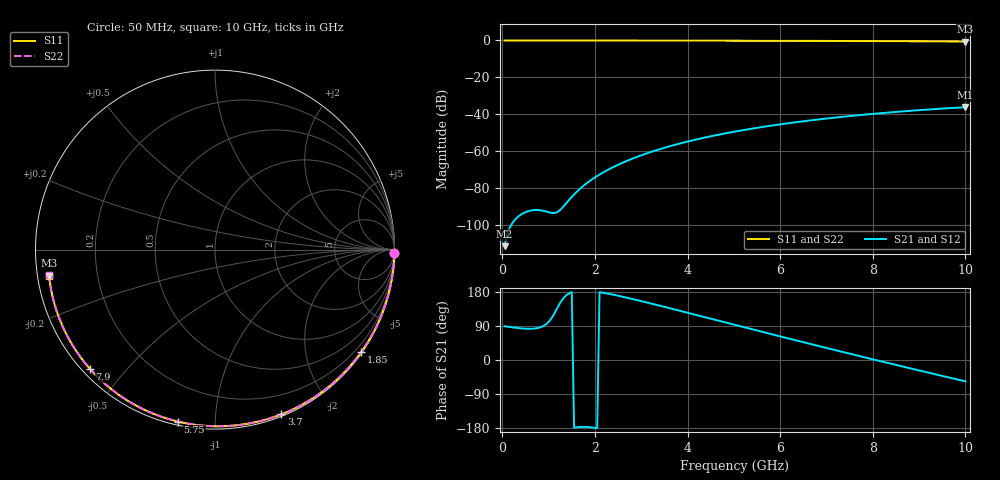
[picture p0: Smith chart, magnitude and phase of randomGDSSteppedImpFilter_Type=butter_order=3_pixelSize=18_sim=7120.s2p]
! freq	dB(S11)	phase(S11)	dB(S12)	phase(S12)
!  dB(S21)	phase(S21)	dB(S22)	phase(S22)
!S-par simulation data
#  GHz  S  DB  R 50
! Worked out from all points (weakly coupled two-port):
!   200 points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, 50 MHz to 10 GHz, reference 50 ohm
!   highest |S21| = -36.20 dB at 10 GHz (marker M1); lowest = -111.5 dB at 50 MHz (marker M2)
!   lowest |S11| = -0.6 dB at 10 GHz (marker M3), VSWR 30.11, Z = 1.67 - j3.88 ohm
!   |S11| at or under -10 dB: nowhere
!   |S22| runs from -0.6 to 0.0 dB; largest |S21 - S12| = 0
!   S11 on the Smith chart (normalised r, x): 50 MHz: open; 1.85 GHz: 0.03, -3.17; 3.7 GHz: 0.02, -1.48; 5.75 GHz: 0.02, -0.81; 7.9 GHz: 0.02, -0.40; 10 GHz: 0.03, -0.08
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0.05  -0.00 -1.0  -111.51 89.1  -111.51 89.1  -0.00 -1.0
0.45  -0.01 -8.7  -93.68 83.0  -93.68 83.0  -0.01 -8.7
0.85  -0.02 -16.3  -92.14 87.6  -92.14 87.6  -0.02 -16.3
1.65  -0.04 -31.3  -81.03 -176.9  -81.03 -176.9  -0.04 -31.3
1.7  -0.04 -32.2  -79.91 -176.5  -79.91 -176.5  -0.04 -32.2
1.75  -0.04 -33.1  -78.85 -176.4  -78.85 -176.4  -0.04 -33.1
1.85  -0.04 -35.0  -76.88 -177.0  -76.88 -177.0  -0.04 -35.0
2.15  -0.05 -40.5  -71.93 178.2  -71.93 178.2  -0.05 -40.5
2.5  -0.06 -46.9  -67.37 169.6  -67.37 169.6  -0.06 -46.9
2.9  -0.07 -54.0  -63.17 158.4  -63.17 158.4  -0.07 -54.1
3.4  -0.08 -62.9  -58.92 143.3  -58.92 143.3  -0.08 -62.9
3.7  -0.09 -68.1  -56.75 134.1  -56.75 134.1  -0.09 -68.1
4.35  -0.11 -79.2  -52.76 113.8  -52.76 113.8  -0.11 -79.2
5.05  -0.14 -90.8  -49.27 91.8  -49.27 91.8  -0.14 -90.9
5.75  -0.17 -102.2  -46.38 70.0  -46.38 70.0  -0.17 -102.3
6.2  -0.20 -109.4  -44.78 56.2  -44.78 56.2  -0.20 -109.5
6.7  -0.23 -117.4  -43.19 40.9  -43.19 40.9  -0.23 -117.4
7.3  -0.28 -126.9  -41.50 22.7  -41.50 22.7  -0.28 -126.9
7.9  -0.33 -136.4  -40.02 4.8  -40.02 4.8  -0.33 -136.4
8.35  -0.37 -143.6  -39.04 -8.6  -39.04 -8.6  -0.37 -143.6
9.2  -0.47 -157.4  -37.43 -33.4  -37.43 -33.4  -0.47 -157.5
10  -0.58 -171.1  -36.20 -56.4  -36.20 -56.4  -0.58 -171.2
